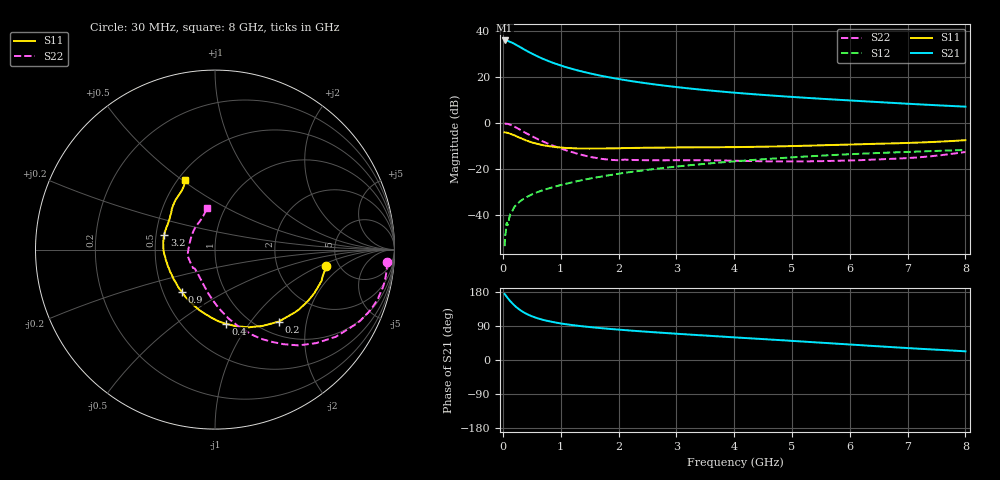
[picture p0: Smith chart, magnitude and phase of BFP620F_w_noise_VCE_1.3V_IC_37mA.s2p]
! Infineon Technologies  Discrete & RF Semiconductors
! BFP620F
! VCE =  1.3 V,  IC =  37 mA
! Common Emitter S-Parameters:  Dec 2014
# GHz  S  MA  R  50
!  f  S11  S21  S12  S22
! GHz  MAG  ANG  MAG  ANG  MAG  ANG  MAG  ANG
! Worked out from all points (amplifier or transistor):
!   95 points, 30 MHz to 8 GHz, reference 50 ohm
!   highest |S21| = 35.8 dB at 30 MHz (marker M1)
!   |S21| within 3 dB of that: start of sweep to 306.5 MHz
!   unconditionally stable (mu >= 1): 2.25 GHz to end of sweep
!   at 300 MHz: K = 0.43, MSG = 33.5 dB, |S12| = -34.0 dB
!   at 3.3 GHz: K = 1.02, MAG = 15.5 dB, |S12| = -18.2 dB
!   at 8 GHz: K = 1.05, MAG = 8.0 dB, |S12| = -11.8 dB
!   lowest NFmin = 1.29 dB at 450 MHz
!   S11 on the Smith chart (normalised r, x): 30 MHz: 3.95, -1.21; 200 MHz: 1.24, -1.39; 400 MHz: 0.78, -0.79; 900 MHz: 0.62, -0.32; 3.2 GHz: 0.55, +0.10; 8 GHz: 0.54, +0.51
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0.03  0.6257 -8.6  61.98 174.4  0.0021 77.3  0.9595 -4.2
0.07  0.6134 -18.5  61.19 166.3  0.0068 89.9  0.9593 -12.5
0.11  0.5926 -28.5  58.85 158.5  0.0086 80.4  0.9323 -20.5
0.15  0.5676 -37.8  56.14 151.7  0.0113 76.6  0.8897 -27.7
0.2  0.536 -48.4  52.12 144.0  0.0151 73.1  0.8302 -35.8
0.25  0.502 -57.8  48.17 137.3  0.0174 71.3  0.7681 -42.7
0.3  0.4721 -66.5  44.37 131.6  0.02 67.8  0.7083 -48.9
0.35  0.4438 -74.3  40.75 126.7  0.022 66.4  0.6516 -54.0
0.4  0.4186 -81.5  37.6 122.4  0.024 65.4  0.6003 -58.7
0.5  0.3784 -93.5  32.17 115.5  0.0279 64.5  0.5161 -66.6
0.6  0.3494 -104.2  27.89 110.1  0.0315 64.0  0.4465 -73.1
0.7  0.3273 -113.1  24.52 105.7  0.0348 64.2  0.3917 -78.8
0.9  0.2997 -127.9  19.57 99.2  0.0414 64.1  0.3098 -88.5
1.1  0.2854 -139.9  16.19 94.2  0.0479 64.5  0.2526 -97.6
1.4  0.2791 -153.6  12.83 88.6  0.0582 64.2  0.1972 -110.7
1.9  0.2802 -170.3  9.482 81.4  0.0752 62.9  0.1567 -133.4
2.7  0.2914 172.4  6.689 72.4  0.1023 59.3  0.1542 -155.6
3.2  0.2942 164.0  5.654 67.4  0.1194 56.6  0.1549 -164.0
4.1  0.2995 151.4  4.444 58.8  0.1492 51.1  0.1501 -176.6
5.4  0.3237 138.5  3.418 46.6  0.1913 42.0  0.1474 158.2
6.7  0.3584 125.9  2.744 34.3  0.2271 32.2  0.1653 131.0
8  0.4221 113.1  2.257 22.9  0.2585 22.6  0.2336 100.7
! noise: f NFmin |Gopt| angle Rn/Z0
0.45  1.29  0.13  -172  0.16
0.9  1.32  0.13  -172  0.13
1.5  1.33  0.17  -151  0.11
1.8  1.34  0.18  -151  0.12
1.9  1.35  0.18  -150  0.12
2.4  1.37  0.19  215  0.14
3.5  1.43  0.19  219  0.18
5.5  1.57  0.25  245  0.16
6  1.61  0.26  261  0.18
